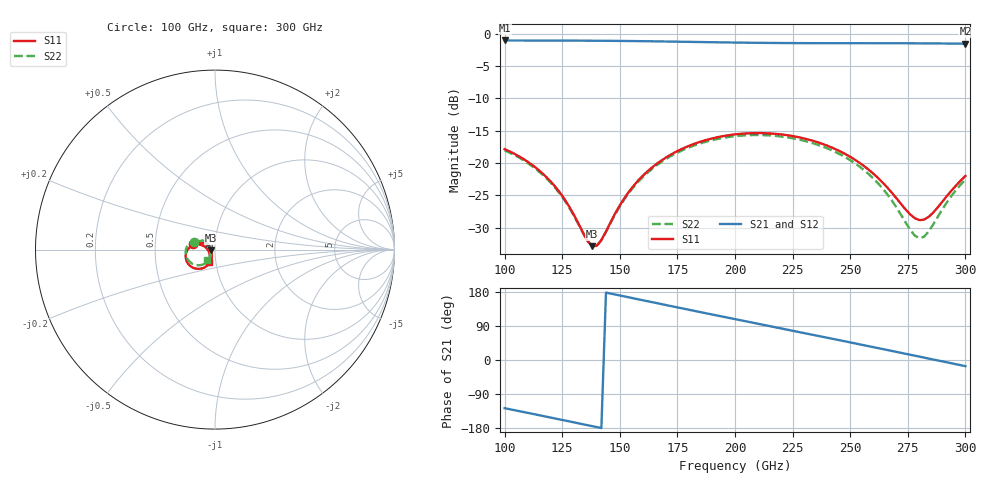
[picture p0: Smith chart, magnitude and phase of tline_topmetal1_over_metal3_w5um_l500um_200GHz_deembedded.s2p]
! Created with skrf 2.0.1 (http://scikit-rf.org).
# GHz S DB R 50.0
!freq dBS11 angS11 dBS21 angS21 dBS12 angS12 dBS22 angS22
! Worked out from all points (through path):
!   101 points, 100 GHz to 300 GHz, reference 50 ohm
!   highest |S21| = -1.05 dB at 100 GHz (marker M1); lowest = -1.6 dB at 300 GHz (marker M2)
!   group delay of S21, straight-line fit = 3.45 ps
!   lowest |S11| = -32.8 dB at 138 GHz (marker M3), VSWR 1.05, Z = 47.8 - j0.46 ohm
!   |S11| at or under -10 dB: start of sweep to end of sweep
!   |S22| runs from -32.8 to -15.7 dB; largest |S21 - S12| = 1e-13
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100  -17.84 166.8  -1.05 -127.1  -1.05 -127.1  -18.03 161.4
110  -19.79 157.2  -1.06 -139.5  -1.06 -139.5  -19.98 151.3
120  -22.85 150.6  -1.07 -151.9  -1.07 -151.9  -23.04 144.2
128  -26.69 151.9  -1.08 -162.0  -1.08 -162.0  -26.85 145.3
134  -30.73 166.4  -1.08 -169.5  -1.08 -169.5  -30.80 159.5
138  -32.84 -167.8  -1.09 -174.6  -1.09 -174.6  -32.80 -175.4
142  -31.90 -136.8  -1.10 -179.6  -1.10 -179.6  -31.91 -145.6
150  -26.53 -112.3  -1.12 170.3  -1.12 170.3  -26.69 -121.7
156  -23.50 -110.5  -1.15 162.7  -1.15 162.7  -23.69 -120.2
168  -19.61 -117.3  -1.20 147.6  -1.20 147.6  -19.84 -127.5
184  -16.81 -132.0  -1.29 127.6  -1.29 127.6  -17.07 -143.2
200  -15.56 -148.2  -1.37 107.9  -1.37 107.9  -15.84 -160.5
216  -15.44 -164.4  -1.43 88.2  -1.43 88.2  -15.75 -177.9
234  -16.57 178.4  -1.47 66.2  -1.47 66.2  -16.95 163.1
254  -19.94 163.5  -1.48 41.4  -1.48 41.4  -20.52 145.3
268  -24.55 164.5  -1.48 24.0  -1.48 24.0  -25.75 143.1
276  -27.92 -177.8  -1.49 13.9  -1.49 13.9  -30.28 162.0
280  -28.81 -160.4  -1.49 8.9  -1.49 8.9  -31.61 -174.2
282  -28.74 -150.8  -1.50 6.4  -1.50 6.4  -31.38 -160.9
286  -27.66 -134.2  -1.51 1.4  -1.51 1.4  -29.50 -140.5
294  -24.24 -118.2  -1.53 -8.7  -1.53 -8.7  -25.05 -126.4
300  -22.00 -115.8  -1.56 -16.2  -1.56 -16.2  -22.55 -126.1
